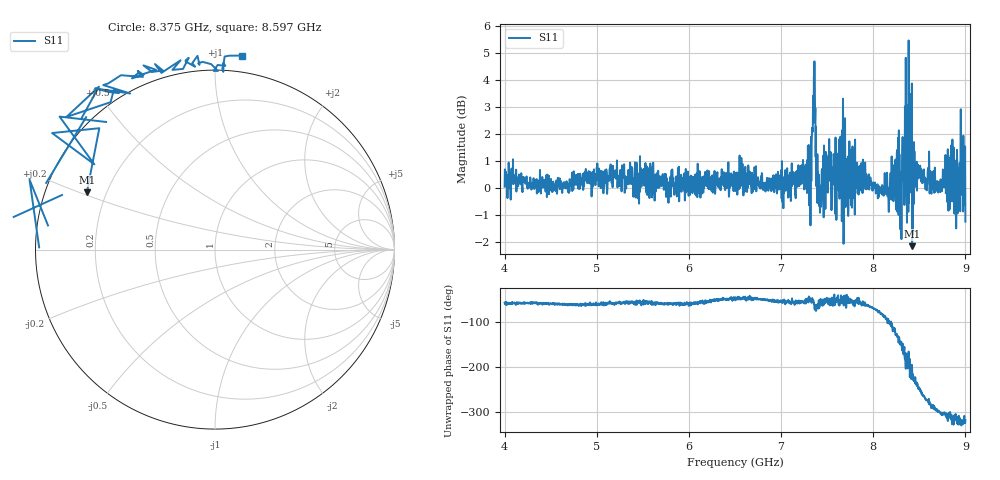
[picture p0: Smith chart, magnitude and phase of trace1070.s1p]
! Created with skrf 1.8.0 (http://scikit-rf.org).
# Hz S RI R 50.0
!freq ReS11 ImS11
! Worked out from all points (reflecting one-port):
!   1601 points, 4 GHz to 9 GHz, reference 50 ohm
!   lowest |S11| = -2.1 dB at 8.422 GHz (marker M1), VSWR 8.18, Z = 6.39 + j10.5 ohm
!   phase of S11 starts at -56 deg and turns -261 deg over the sweep
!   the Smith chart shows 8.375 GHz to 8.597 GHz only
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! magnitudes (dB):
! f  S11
! 4 GHz  0.1
! 4.625 GHz  -0.2
! 5.25 GHz  0.1
! 5.875 GHz  0.3
! 6.5 GHz  0.2
! 7.125 GHz  0.2
! 7.297 GHz  0.4
! 7.356 GHz  4.1
! 7.372 GHz  3.0
! 7.4 GHz  0.6
! 7.416 GHz  -0.7
! 7.509 GHz  0.4
! 7.609 GHz  1.3
! 7.65 GHz  1.8
! 7.75 GHz  0.1
! 8.169 GHz  -0.9
! 8.253 GHz  0.0
! 8.288 GHz  -0.5
! 8.316 GHz  1.4
! 8.334 GHz  1.2
! 8.375 GHz  1.4
! 8.412 GHz  0.3
! 8.422 GHz  -2.1
! 8.447 GHz  1.4
! 8.466 GHz  0.2
! 8.722 GHz  0.1
! 8.972 GHz  0.8
! 9 GHz  -1.2
